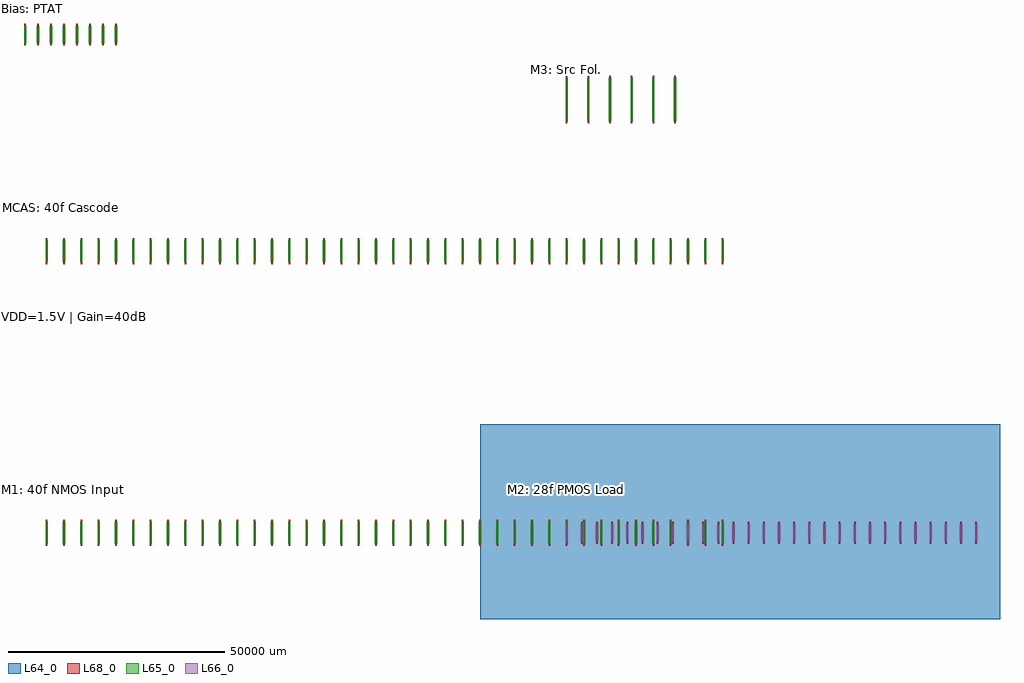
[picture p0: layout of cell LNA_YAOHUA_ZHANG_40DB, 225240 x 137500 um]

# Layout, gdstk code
import gdstk
lib = gdstk.Library(unit=1e-6, precision=1e-09)
def R(c, l, rs):  # rectangles x0, y0, x1, y1
    for r in rs: c.add(gdstk.rectangle(r[:2], r[2:], *l))
def A(c, l, x, y, w, h, nx, ny, dx, dy):  # array of equal rectangles
    R(c, l, [(x+i*dx, y+j*dy, x+i*dx+w, y+j*dy+h) for i in range(nx) for j in range(ny)])
L64_0 = (64, 0)
L65_0 = (65, 0)
L66_0 = (66, 0)
L68_0 = (68, 0)

lna_yaohua_zhang_40db = lib.new_cell('LNA_YAOHUA_ZHANG_40DB')
R(lna_yaohua_zhang_40db, L64_0, [(20000,-65000,140000,-20000)])
A(lna_yaohua_zhang_40db, L65_0, -80240, -47500, 480, 5000, 40, 2, 4000, 65000)
A(lna_yaohua_zhang_40db, L65_0, 39760, 50000, 480, 10000, 6, 1, 5000, 0)
A(lna_yaohua_zhang_40db, L65_0, -85240, 68000, 480, 4000, 8, 1, 3000, 0)
A(lna_yaohua_zhang_40db, L66_0, 39760, -47000, 480, 4000, 28, 1, 3500, 0)
A(lna_yaohua_zhang_40db, L68_0, -80180, -48000, 360, 6000, 40, 2, 4000, 65000)
A(lna_yaohua_zhang_40db, L68_0, 39820, -47500, 360, 5000, 28, 1, 3500, 0)
A(lna_yaohua_zhang_40db, L68_0, 39820, 49500, 360, 11000, 6, 1, 5000, 0)
A(lna_yaohua_zhang_40db, L68_0, -85180, 67500, 360, 5000, 8, 1, 3000, 0)
lna_yaohua_zhang_40db.add(gdstk.Label('LNA - Yaohua Zhang: 40dB @ 1.5V (sky130)', (-90000,85000), layer=71, texttype=0))
lna_yaohua_zhang_40db.add(gdstk.Label('M1: 40f NMOS Input', (-80000,-35000), layer=71, texttype=0))
lna_yaohua_zhang_40db.add(gdstk.Label('MCAS: 40f Cascode', (-80000,30000), layer=71, texttype=0))
lna_yaohua_zhang_40db.add(gdstk.Label('M2: 28f PMOS Load', (40000,-35000), layer=71, texttype=0))
lna_yaohua_zhang_40db.add(gdstk.Label('M3: Src Fol.', (40000,62000), layer=71, texttype=0))
lna_yaohua_zhang_40db.add(gdstk.Label('Bias: PTAT', (-85000,77000), layer=71, texttype=0))
lna_yaohua_zhang_40db.add(gdstk.Label('VDD=1.5V | Gain=40dB', (-90000,5000), layer=71, texttype=0))

lib.write_gds('LNA_YAOHUA_ZHANG_40DB.gds')
